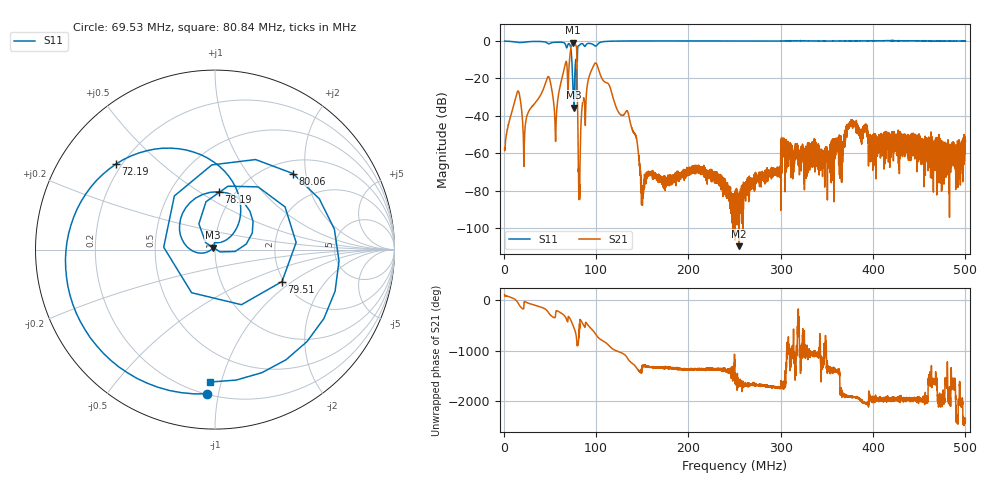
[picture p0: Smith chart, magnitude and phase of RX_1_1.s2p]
! NanoVNA-App
! Date: 2026-08-26 21:51:00
! Start: 1MHz Stop: 500MHz Points: 6401
! S-Parameter data: F S11 S21 S12 S22
# Hz S RI R 50
!  Frequency  S11_Real  S11_Imag  S21_Real  S21_Imag  S12_Real  S12_Imag  S22_Real  S22_Imag
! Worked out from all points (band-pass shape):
!   6401 points, 1 MHz to 500 MHz, reference 50 ohm
!   highest |S21| = -0.92 dB at 75.23 MHz (marker M1); lowest = -109.7 dB at 254.9 MHz (marker M2)
!   |S21| within 3 dB of the highest: 72.72 MHz to 78.97 MHz (6.249 MHz wide, 8.24 % of centre)
!   lowest |S11| = -35.6 dB at 76.24 MHz (marker M3), VSWR 1.03, Z = 48.7 + j0.98 ohm
!   |S11| at or under -10 dB: 73.76 MHz to 78.06 MHz (4.301 MHz wide, 5.67 % of centre); 78.36 MHz to 79.17 MHz (809.6 kHz wide, 1.03 % of centre); 79.61886 MHz to 79.77732 MHz (158.5 kHz wide, 0.199 % of centre)
!   S12 and S22 are empty: the file has one direction only
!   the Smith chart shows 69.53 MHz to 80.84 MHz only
!   S11 on the Smith chart (normalised r, x): 69.53 MHz: 0.20, -0.93; 72.19 MHz: 0.18, +0.36; 78.19 MHz: 0.84, +0.61; 79.51 MHz: 1.95, -0.84; 80.06 MHz: 1.26, +1.70; 80.84 MHz: 0.28, -0.92
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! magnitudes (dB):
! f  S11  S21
! 1 MHz  -0.1  -57.3
! 14.64 MHz  -0.8  -27.4
! 22.75 MHz  -0.7  -49.5
! 56.67 MHz  -0.7  -44.9
! 69.53 MHz  -1.9  -28.9
! 72.19 MHz  -2.7  -5.9
! 75.23 MHz  -28.0  -0.9
! 76.24 MHz  -35.6  -1.0
! 78.19 MHz  -9.8  -2.4
! 79.51 MHz  -7.7  -16.5
! 80.06 MHz  -4.3  -36.4
! 80.84 MHz  -2.6  -66.0
! 84.19 MHz  -1.4  -39.8
! 99.86 MHz  -2.8  -11.8
! 135 MHz  0.0  -38.9
! 150.2 MHz  0.0  -87.8
! 167.4 MHz  0.0  -75.7
! 250.5 MHz  0.0  -80.3
! 254.9 MHz  0.0  -109.7
! 333.7 MHz  0.0  -55.8
! 416.9 MHz  0.2  -48.9
! 500 MHz  0.0  -53.4
